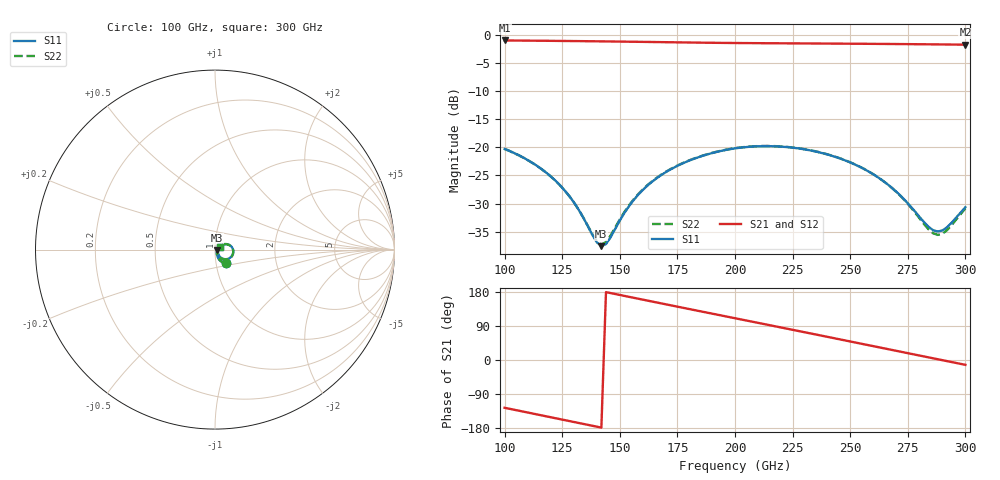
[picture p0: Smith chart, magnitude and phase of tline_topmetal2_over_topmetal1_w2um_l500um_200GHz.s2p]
#  GHZ S DB R 50
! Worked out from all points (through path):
!   101 points, 100 GHz to 300 GHz, reference 50 ohm
!   highest |S21| = -0.91 dB at 100 GHz (marker M1); lowest = -1.7 dB at 300 GHz (marker M2)
!   group delay of S21, straight-line fit = 3.42 ps
!   lowest |S11| = -37.6 dB at 142 GHz (marker M3), VSWR 1.03, Z = 51.3 - j0.45 ohm
!   |S11| at or under -10 dB: start of sweep to end of sweep
!   |S22| runs from -37.3 to -19.7 dB; largest |S21 - S12| = 9.7e-14
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100  -20.26 -51.6  -0.91 -126.1  -0.91 -126.1  -20.27 -51.9
110  -22.24 -60.8  -0.94 -138.6  -0.94 -138.6  -22.25 -61.0
120  -25.16 -68.0  -0.98 -151.0  -0.98 -151.0  -25.16 -68.1
128  -28.64 -69.9  -1.01 -161.0  -1.01 -161.0  -28.64 -69.8
134  -32.41 -64.2  -1.03 -168.5  -1.03 -168.5  -32.39 -63.6
140  -36.92 -36.9  -1.06 -175.9  -1.06 -175.9  -36.71 -35.9
142  -37.61 -19.5  -1.07 -178.4  -1.07 -178.4  -37.30 -18.9
144  -37.23 -1.5  -1.08 179.1  -1.08 179.1  -36.89 -1.7
156  -29.39 35.4  -1.14 164.2  -1.14 164.2  -29.26 34.0
162  -26.81 35.0  -1.17 156.8  -1.17 156.8  -26.72 33.6
168  -24.92 31.9  -1.21 149.4  -1.21 149.4  -24.85 30.6
184  -21.76 19.3  -1.29 129.7  -1.29 129.7  -21.71 18.0
200  -20.16 3.8  -1.36 110.2  -1.36 110.2  -20.13 2.5
218  -19.81 -15.0  -1.41 88.3  -1.41 88.3  -19.77 -16.5
234  -20.64 -31.3  -1.45 68.6  -1.45 68.6  -20.60 -32.9
252  -23.03 -47.5  -1.49 46.5  -1.49 46.5  -23.01 -49.6
268  -27.17 -56.0  -1.54 26.7  -1.54 26.7  -27.19 -58.8
274  -29.51 -54.5  -1.56 19.3  -1.56 19.3  -29.60 -57.7
284  -34.15 -32.6  -1.60 6.9  -1.60 6.9  -34.60 -36.0
288  -35.00 -12.7  -1.61 2.0  -1.61 2.0  -35.61 -14.6
292  -34.24 7.2  -1.63 -2.9  -1.63 -2.9  -34.77 7.0
300  -30.67 27.4  -1.66 -12.8  -1.66 -12.8  -30.89 27.8
